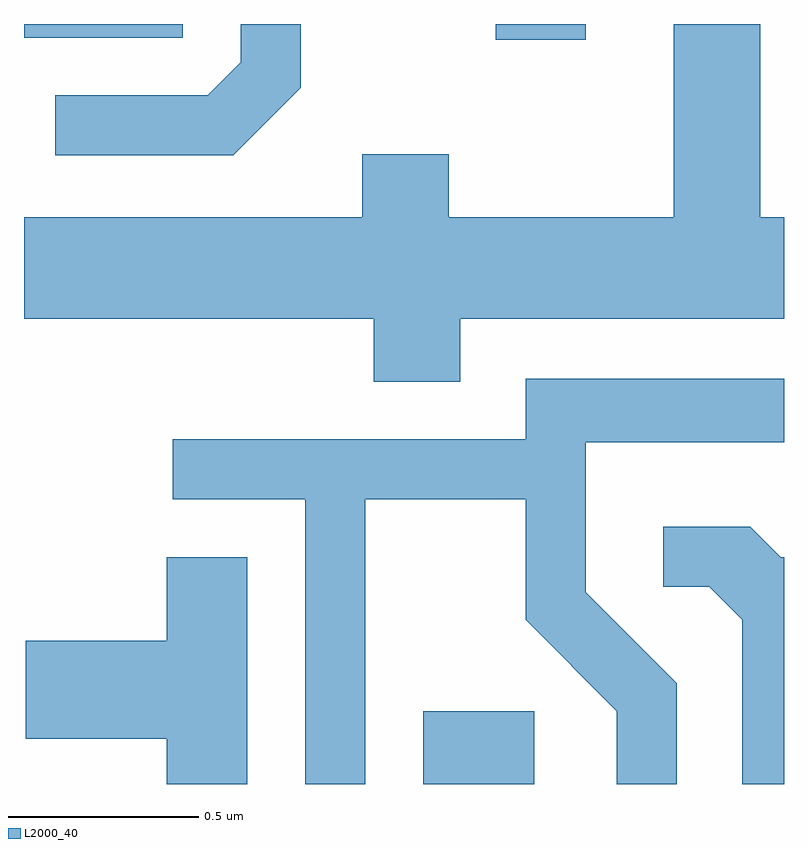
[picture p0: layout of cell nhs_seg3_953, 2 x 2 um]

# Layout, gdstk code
import gdstk
lib = gdstk.Library(unit=1e-6, precision=1e-09)
def R(c, l, rs):  # rectangles x0, y0, x1, y1
    for r in rs: c.add(gdstk.rectangle(r[:2], r[2:], *l))
def P(c, l, *ps):  # polygons
    for p in ps: c.add(gdstk.Polygon(p, *l))
L2000_40 = (2000, 40)

nhs_seg3_953 = lib.new_cell('nhs_seg3_953')
R(nhs_seg3_953, L2000_40, [(192.661,1246.892,192.954,1247.084), (192.853,1248.851,193.089,1248.892), (191.611,1248.856,192.029,1248.892)])
P(nhs_seg3_953, L2000_40, [(192.759,1248.116),(193.611,1248.116),(193.611,1248.384),(193.549,1248.384),(193.549,1248.892),(193.321,1248.892),(193.321,1248.384),(192.729,1248.384),(192.729,1248.549),(192.501,1248.549),(192.501,1248.384),(191.611,1248.384),(191.611,1248.116),(192.531,1248.116),(192.531,1247.951),(192.759,1247.951)],
  [(192.339,1248.724),(192.339,1248.892),(192.181,1248.892),(192.181,1248.792),(192.094,1248.704),(191.693,1248.704),(191.693,1248.546),(192.162,1248.546)],
  [(192.509,1247.641),(192.931,1247.641),(192.931,1247.324),(193.171,1247.084),(193.171,1246.892),(193.329,1246.892),(193.329,1247.157),(193.089,1247.397),(193.089,1247.791),(193.611,1247.791),(193.611,1247.959),(192.931,1247.959),(192.931,1247.799),(192.003,1247.799),(192.003,1247.641),(192.351,1247.641),(192.351,1246.892),(192.509,1246.892)],
  [(193.611,1247.489),(193.602,1247.489),(193.522,1247.569),(193.293,1247.569),(193.293,1247.411),(193.414,1247.411),(193.501,1247.324),(193.501,1246.892),(193.611,1246.892)],
  [(192.199,1247.489),(191.986,1247.489),(191.986,1247.269),(191.616,1247.269),(191.616,1247.011),(191.986,1247.011),(191.986,1246.892),(192.199,1246.892)])

lib.write_gds('nhs_seg3_953.gds')
